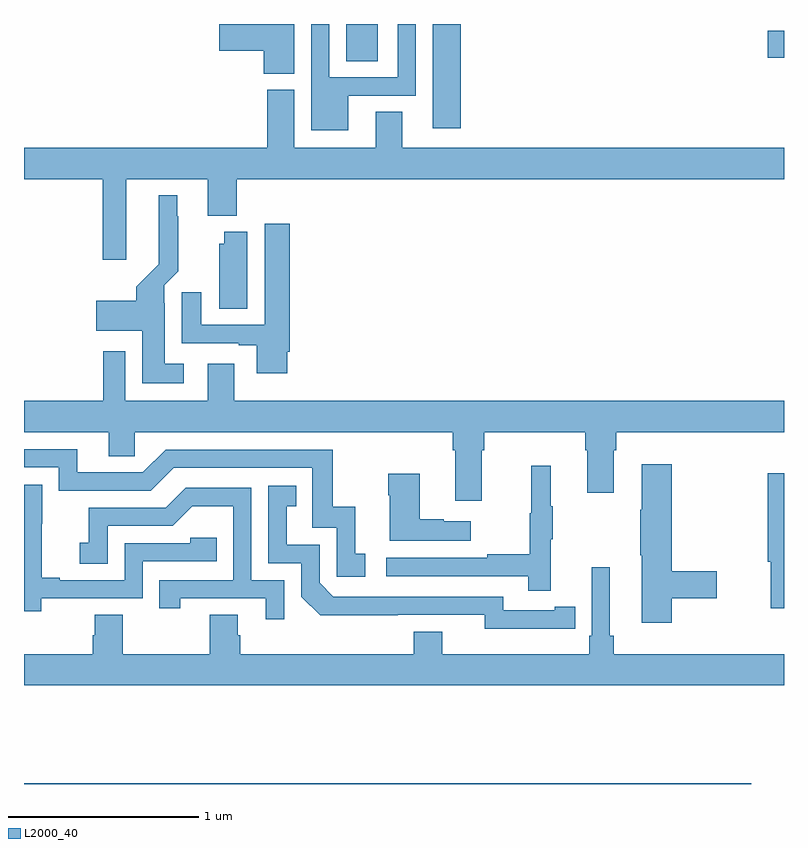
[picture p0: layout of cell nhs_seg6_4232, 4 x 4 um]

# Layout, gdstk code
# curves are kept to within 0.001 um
import gdstk
lib = gdstk.Library(unit=1e-6, precision=1e-09)
def R(c, l, rs):  # rectangles x0, y0, x1, y1
    for r in rs: c.add(gdstk.rectangle(r[:2], r[2:], *l))
def P(c, l, *ps):  # polygons
    for p in ps: c.add(gdstk.Polygon(p, *l))
L2000_40 = (2000, 40)

nhs_seg6_4232 = lib.new_cell('nhs_seg6_4232')
R(nhs_seg6_4232, L2000_40, [(361,929.5,364.828,929.504), (363.152,932.952,363.299,933.5), (362.696,933.304,362.863,933.5), (364.914,933.322,365,933.464)])
P(nhs_seg6_4232, L2000_40, [(362.422,933.5),(362.028,933.5),(362.028,933.359),(362.261,933.359),(362.261,933.238),(362.422,933.238)],
  [(362.707,933.123),(363.063,933.123),(363.063,933.5),(362.967,933.5),(362.967,933.219),(362.607,933.219),(362.607,933.5),(362.511,933.5),(362.511,932.942),(362.707,932.942)],
  [(361.537,932.684),(361.967,932.684),(361.967,932.492),(362.12,932.492),(362.12,932.684),(365,932.684),(365,932.848),(362.992,932.848),(362.992,933.038),(362.852,933.038),(362.852,932.848),(362.422,932.848),(362.422,933.153),(362.279,933.153),(362.279,932.848),(361,932.848),(361,932.684),(361.415,932.684),(361.415,932.259),(361.537,932.259)],
  [(361.84,931.711),(361.741,931.711),(361.741,932.03),(361.737,932.03),(361.737,932.124),(361.811,932.198),(361.811,932.489),(361.807,932.489),(361.807,932.599),(361.709,932.599),(361.71,932.236),(361.592,932.118),(361.592,932.044),(361.38,932.044),(361.38,931.886),(361.622,931.886),(361.622,931.61),(361.84,931.61)],
  [(362.386,931.774),(362.399,931.774),(362.399,932.449),(362.267,932.449),(362.267,931.917),(361.933,931.917),(361.933,932.089),(361.829,932.089),(361.829,931.821),(362.129,931.821),(362.129,931.809),(362.225,931.809),(362.225,931.662),(362.386,931.662)],
  [(362.176,932.407),(362.054,932.407),(362.054,932.343),(362.027,932.343),(362.027,932.002),(362.176,932.002)],
  [(363.409,931.256),(363.422,931.256),(363.422,931.352),(363.953,931.352),(363.953,931.256),(363.965,931.256),(363.965,931.032),(364.105,931.032),(364.105,931.256),(364.118,931.256),(364.118,931.352),(365,931.352),(365,931.516),(362.107,931.516),(362.107,931.711),(361.967,931.711),(361.967,931.516),(361.533,931.516),(361.533,931.777),(361.417,931.777),(361.417,931.516),(361,931.516),(361,931.352),(361.445,931.352),(361.445,931.225),(361.584,931.225),(361.584,931.352),(363.257,931.352),(363.257,931.256),(363.269,931.256),(363.269,930.99),(363.409,930.99)],
  [(362.797,930.711),(362.744,930.711),(362.744,930.958),(362.626,930.958),(362.626,931.26),(361.746,931.26),(361.626,931.14),(361.279,931.14),(361.279,931.263),(361,931.263),(361,931.167),(361.182,931.167),(361.182,931.044),(361.668,931.044),(361.788,931.164),(362.517,931.164),(362.517,930.849),(362.646,930.849),(362.646,930.591),(362.797,930.591)],
  [(364.409,930.478),(364.645,930.478),(364.645,930.62),(364.409,930.62),(364.409,931.183),(364.25,931.183),(364.25,930.944),(364.243,930.944),(364.243,930.703),(364.25,930.703),(364.25,930.348),(364.409,930.348)],
  [(363.773,930.787),(363.784,930.787),(363.784,930.961),(363.773,930.961),(363.773,931.174),(363.67,931.174),(363.67,930.924),(363.663,930.924),(363.663,930.71),(363.439,930.71),(363.439,930.69),(362.907,930.69),(362.907,930.594),(363.655,930.594),(363.655,930.516),(363.773,930.516)],
  [(365,931.136),(364.915,931.136),(364.915,930.67),(364.93,930.67),(364.93,930.426),(365,930.426)],
  [(363.352,930.883),(363.209,930.883),(363.209,930.893),(363.082,930.893),(363.082,931.132),(362.917,931.132),(362.917,931.019),(362.924,931.019),(362.924,930.779),(363.352,930.779)],
  [(361.092,930.477),(361.626,930.477),(361.626,930.672),(362.015,930.672),(362.015,930.795),(361.875,930.795),(361.875,930.768),(361.53,930.768),(361.53,930.573),(361.189,930.573),(361.189,930.586),(361.094,930.586),(361.094,930.869),(361.095,930.869),(361.095,931.075),(361,931.075),(361,930.409),(361.092,930.409)],
  [(363.794,930.318),(363.902,930.318),(363.902,930.434),(363.794,930.434),(363.794,930.414),(363.522,930.414),(363.522,930.486),(362.628,930.486),(362.556,930.558),(362.556,930.759),(362.383,930.759),(362.383,930.963),(362.432,930.963),(362.432,931.069),(362.286,931.069),(362.286,930.663),(362.46,930.663),(362.46,930.486),(362.558,930.389),(363.426,930.39),(363.426,930.317)],
  [(362.37,930.573),(362.196,930.573),(362.196,931.059),(361.85,931.059),(361.745,930.954),(361.342,930.954),(361.342,930.769),(361.293,930.769),(361.293,930.66),(361.44,930.66),(361.44,930.858),(361.782,930.858),(361.886,930.962),(362.1,930.962),(362.1,930.573),(361.711,930.573),(361.711,930.426),(361.822,930.426),(361.822,930.477),(362.273,930.477),(362.273,930.366),(362.37,930.366)],
  [(365,930.184),(364.103,930.184),(364.103,930.28),(364.084,930.28),(364.084,930.64),(363.987,930.64),(363.987,930.28),(363.974,930.28),(363.974,930.184),(363.202,930.184),(363.202,930.301),(363.05,930.301),(363.05,930.184),(362.138,930.184),(362.138,930.282),(362.125,930.282),(362.125,930.392),(361.978,930.392),(361.978,930.184),(361.521,930.184),(361.521,930.392),(361.373,930.392),(361.373,930.282),(361.361,930.282),(361.361,930.184),(361,930.184),(361,930.02),(365,930.02)])

lib.write_gds('nhs_seg6_4232.gds')
